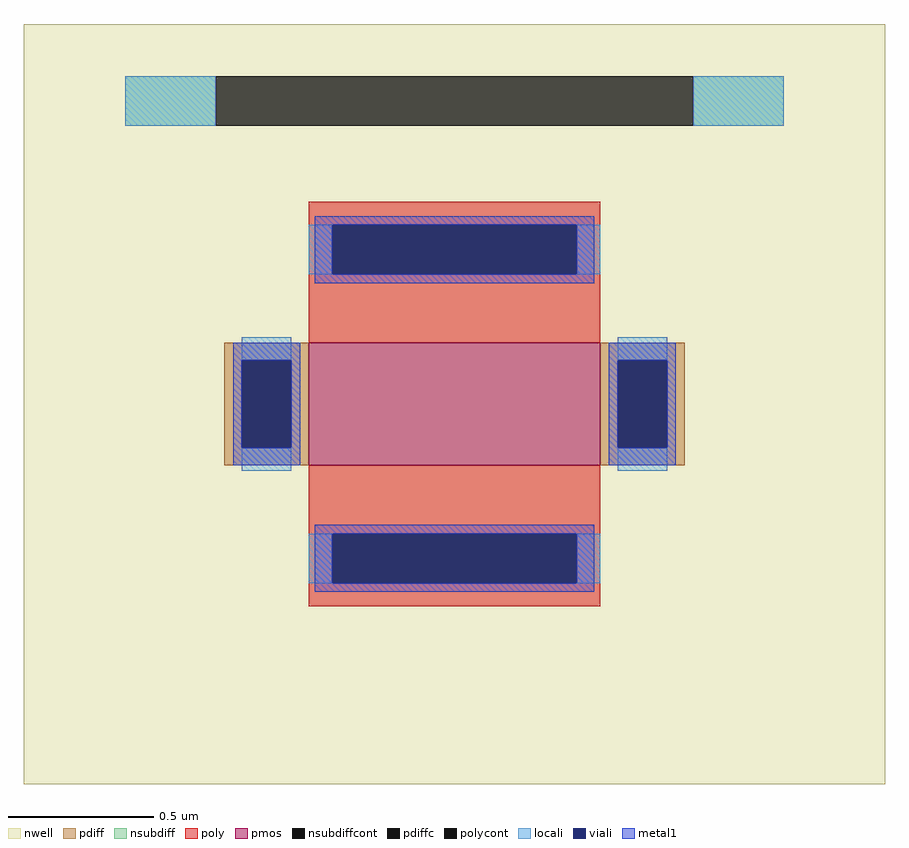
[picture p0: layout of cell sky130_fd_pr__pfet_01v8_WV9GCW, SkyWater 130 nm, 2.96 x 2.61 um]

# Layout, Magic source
magic
tech sky130A
magscale 1 2
<< nwell >>
rect -296 -261 296 261
<< pmos >>
rect -100 -42 100 42
<< pdiff >>
rect -158 30 -100 42
rect -158 -30 -146 30
rect -112 -30 -100 30
rect -158 -42 -100 -30
rect 100 30 158 42
rect 100 -30 112 30
rect 146 -30 158 30
rect 100 -42 158 -30
<< pdiffc >>
rect -146 -30 -112 30
rect 112 -30 146 30
<< nsubdiff >>
rect -226 191 -164 225
rect 164 191 226 225
<< nsubdiffcont >>
rect -164 191 164 225
<< poly >>
rect -100 123 100 139
rect -100 89 -84 123
rect 84 89 100 123
rect -100 42 100 89
rect -100 -89 100 -42
rect -100 -123 -84 -89
rect 84 -123 100 -89
rect -100 -139 100 -123
<< polycont >>
rect -84 89 84 123
rect -84 -123 84 -89
<< locali >>
rect -226 191 -164 225
rect 164 191 226 225
rect -100 89 -84 123
rect 84 89 100 123
rect -146 30 -112 46
rect -146 -46 -112 -30
rect 112 30 146 46
rect 112 -46 146 -30
rect -100 -123 -84 -89
rect 84 -123 100 -89
<< viali >>
rect -84 89 84 123
rect -146 -30 -112 30
rect 112 -30 146 30
rect -84 -123 84 -89
<< metal1 >>
rect -96 123 96 129
rect -96 89 -84 123
rect 84 89 96 123
rect -96 83 96 89
rect -152 30 -106 42
rect -152 -30 -146 30
rect -112 -30 -106 30
rect -152 -42 -106 -30
rect 106 30 152 42
rect 106 -30 112 30
rect 146 -30 152 30
rect 106 -42 152 -30
rect -96 -89 96 -83
rect -96 -123 -84 -89
rect 84 -123 96 -89
rect -96 -129 96 -123
<< properties >>
string FIXED_BBOX -243 -208 243 208
string gencell sky130_fd_pr__pfet_01v8
string library sky130
string parameters w 0.42 l 1.0 m 1 nf 1 diffcov 100 polycov 100 guard 1 glc 1 grc 1 gtc 1 gbc 1 tbcov 100 rlcov 100 topc 1 botc 1 poverlap 0 doverlap 1 lmin 0.15 wmin 0.42 compatible {sky130_fd_pr__pfet_01v8  sky130_fd_pr__pfet_01v8_lvt sky130_fd_pr__pfet_01v8_hvt  sky130_fd_pr__pfet_g5v0d10v5} full_metal 1 viasrc 100 viadrn 100 viagate 100 viagb 0 viagr 0 viagl 0 viagt 0
<< end >>
